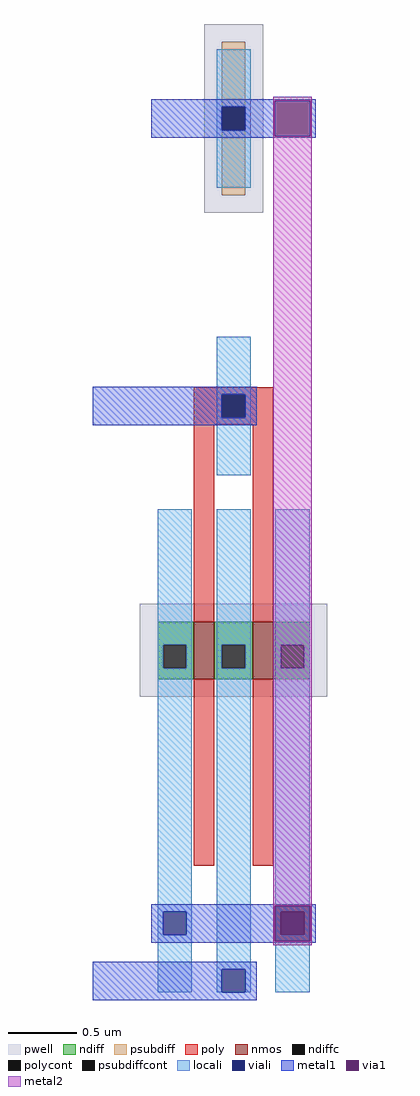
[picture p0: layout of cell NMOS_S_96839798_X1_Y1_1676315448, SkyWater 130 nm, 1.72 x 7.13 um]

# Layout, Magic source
magic
tech sky130A
magscale 1 2
<< pwell >>
rect 215 1206 301 1482
rect 121 499 395 635
<< nmos >>
rect 200 525 230 609
rect 286 525 316 609
<< ndiff >>
rect 147 575 200 609
rect 147 541 155 575
rect 189 541 200 575
rect 147 525 200 541
rect 230 575 286 609
rect 230 541 241 575
rect 275 541 286 575
rect 230 525 286 541
rect 316 575 369 609
rect 316 541 327 575
rect 361 541 369 575
rect 316 525 369 541
<< ndiffc >>
rect 155 541 189 575
rect 241 541 275 575
rect 327 541 361 575
<< psubdiff >>
rect 241 1361 275 1456
rect 241 1232 275 1327
<< psubdiffcont >>
rect 241 1327 275 1361
<< poly >>
rect 200 941 316 951
rect 200 907 241 941
rect 275 907 316 941
rect 200 897 316 907
rect 200 609 230 897
rect 286 609 316 897
rect 200 252 230 525
rect 286 252 316 525
<< polycont >>
rect 241 907 275 941
<< locali >>
rect 233 1361 283 1445
rect 233 1327 241 1361
rect 275 1327 283 1361
rect 233 1243 283 1327
rect 233 941 283 1025
rect 233 907 241 941
rect 275 907 283 941
rect 233 823 283 907
rect 147 575 197 773
rect 147 541 155 575
rect 189 541 197 575
rect 147 185 197 541
rect 147 151 155 185
rect 189 151 197 185
rect 147 67 197 151
rect 233 575 283 773
rect 233 541 241 575
rect 275 541 283 575
rect 233 101 283 541
rect 233 67 241 101
rect 275 67 283 101
rect 319 575 369 773
rect 319 541 327 575
rect 361 541 369 575
rect 319 185 369 541
rect 319 151 327 185
rect 361 151 369 185
rect 319 67 369 151
<< viali >>
rect 241 1327 275 1361
rect 241 907 275 941
rect 155 151 189 185
rect 241 67 275 101
rect 327 151 361 185
<< metal1 >>
rect 138 1370 378 1372
rect 138 1361 318 1370
rect 138 1327 241 1361
rect 275 1327 318 1361
rect 138 1318 318 1327
rect 370 1318 378 1370
rect 138 1316 378 1318
rect 52 941 292 952
rect 52 907 241 941
rect 275 907 292 941
rect 52 896 292 907
rect 138 194 378 196
rect 138 185 318 194
rect 138 151 155 185
rect 189 151 318 185
rect 138 142 318 151
rect 370 142 378 194
rect 138 140 378 142
rect 52 101 292 112
rect 52 67 241 101
rect 275 67 292 101
rect 52 56 292 67
<< via1 >>
rect 318 1318 370 1370
rect 318 185 370 194
rect 318 151 327 185
rect 327 151 361 185
rect 361 151 370 185
rect 318 142 370 151
<< metal2 >>
rect 316 1370 372 1376
rect 316 1318 318 1370
rect 370 1318 372 1370
rect 316 194 372 1318
rect 316 142 318 194
rect 370 142 372 194
rect 316 136 372 142
<< end >>
